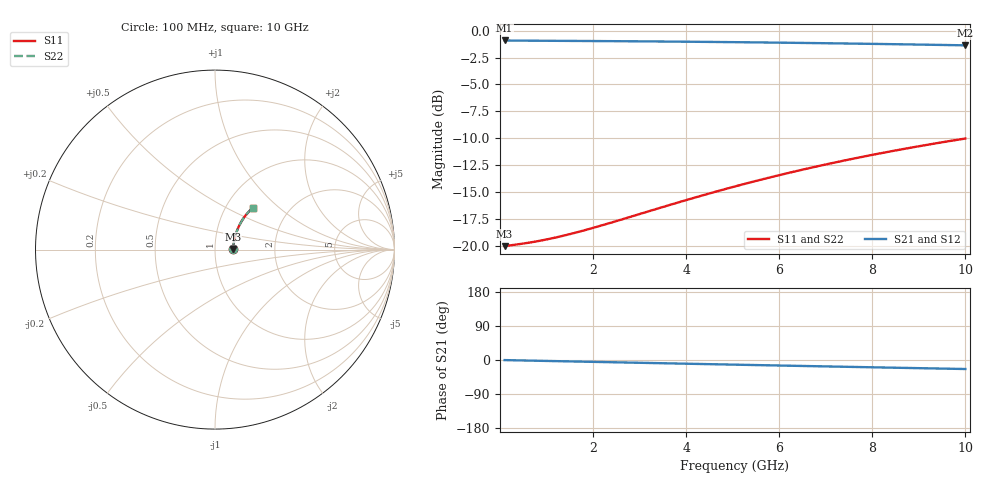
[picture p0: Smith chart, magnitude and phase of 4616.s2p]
# Hz S RI R 50.00
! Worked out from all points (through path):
!   100 points, 100 MHz to 10 GHz, reference 50 ohm
!   highest |S21| = -0.91 dB at 100 MHz (marker M1); lowest = -1.4 dB at 10 GHz (marker M2)
!   group delay of S21, straight-line fit = 6.62 ps
!   lowest |S11| = -20.0 dB at 100 MHz (marker M3), VSWR 1.22, Z = 61 + j0.341 ohm
!   |S11| at or under -10 dB: start of sweep to end of sweep
!   |S22| runs from -20.0 to -10.0 dB; largest |S21 - S12| = 0
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1e8  0.0994 0.00277  0.9006 -0.00387  0.9006 -0.00387  0.0994 0.00277
6e8  0.1017 0.0165  0.8982 -0.0232  0.8982 -0.0232  0.1017 0.0165
9e8  0.1029 0.0247  0.8971 -0.0347  0.8971 -0.0347  0.1029 0.0247
1.1e9  0.1037 0.0302  0.8962 -0.0423  0.8962 -0.0423  0.1037 0.0302
1.3e9  0.1045 0.0356  0.8953 -0.05  0.8953 -0.05  0.1045 0.0356
1.5e9  0.1054 0.041  0.8944 -0.0576  0.8944 -0.0576  0.1054 0.041
1.8e9  0.1069 0.0491  0.8928 -0.069  0.8928 -0.069  0.1069 0.0491
2.4e9  0.1104 0.0651  0.8892 -0.0917  0.8892 -0.0917  0.1104 0.0651
3.4e9  0.1178 0.0912  0.8814 -0.1289  0.8814 -0.1289  0.1178 0.0912
4.3e9  0.1262 0.114  0.8726 -0.1616  0.8726 -0.1616  0.1262 0.114
4.7e9  0.1304 0.1238  0.8681 -0.1759  0.8681 -0.1759  0.1304 0.1238
5.1e9  0.135 0.1335  0.8633 -0.19  0.8633 -0.19  0.135 0.1335
5.5e9  0.1398 0.143  0.8582 -0.204  0.8582 -0.204  0.1398 0.143
5.9e9  0.1449 0.1523  0.8528 -0.2177  0.8528 -0.2177  0.1449 0.1523
6.3e9  0.1503 0.1613  0.8471 -0.2312  0.8471 -0.2312  0.1503 0.1613
6.7e9  0.1559 0.1702  0.8411 -0.2445  0.8411 -0.2445  0.1559 0.1702
7.1e9  0.1619 0.1788  0.8348 -0.2576  0.8348 -0.2576  0.1619 0.1788
7.5e9  0.168 0.1872  0.8283 -0.2704  0.8283 -0.2704  0.168 0.1872
7.9e9  0.1744 0.1953  0.8215 -0.283  0.8215 -0.283  0.1744 0.1953
8.4e9  0.1827 0.2051  0.8126 -0.2984  0.8126 -0.2984  0.1827 0.2051
9.2e9  0.1967 0.2199  0.7977 -0.3222  0.7977 -0.3222  0.1967 0.2199
1e10  0.2114 0.2336  0.782 -0.3449  0.782 -0.3449  0.2114 0.2336
